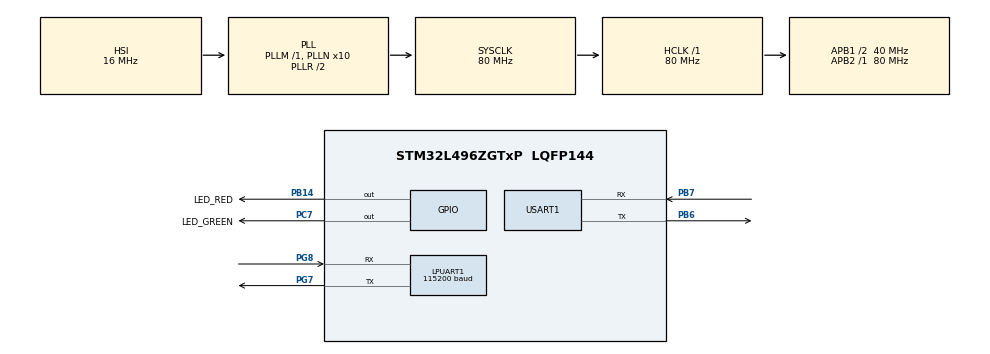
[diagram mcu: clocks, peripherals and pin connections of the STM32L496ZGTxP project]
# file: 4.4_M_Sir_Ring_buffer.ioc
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LPUART1.BaudRate=115200
LPUART1.WordLength=UART_WORDLENGTH_8B
Mcu.Family=STM32L4
Mcu.Name=STM32L496ZGTxP
Mcu.Package=LQFP144
NVIC.LPUART1_IRQn=true\:0\:0\:false\:false\:true\:true\:true\:true
NVIC.PriorityGroup=NVIC_PRIORITYGROUP_4
NVIC.USART1_IRQn=true\:0\:0\:false\:false\:true\:true\:true\:true
PA13\ (JTMS/SWDIO).Mode=Serial_Wire
PA13\ (JTMS/SWDIO).Signal=SYS_JTMS-SWDIO
PA14\ (JTCK/SWCLK).Mode=Serial_Wire
PA14\ (JTCK/SWCLK).Signal=SYS_JTCK-SWCLK
PB14.GPIO_Label=LED_RED
PB14.Signal=GPIO_Output
PB6.Mode=Asynchronous
PB6.Signal=USART1_TX
PB7.Mode=Asynchronous
PB7.Signal=USART1_RX
PC7.GPIO_Label=LED_GREEN
PC7.Signal=GPIO_Output
PD5.Signal=USART2_TX
PD6.Signal=USART2_RX
PG7.Mode=Asynchronous
PG7.Signal=LPUART1_TX
PG8.Mode=Asynchronous
PG8.Signal=LPUART1_RX
PH0-OSC_IN\ (PH0).Mode=HSE-External-Oscillator
PH0-OSC_IN\ (PH0).Signal=RCC_OSC_IN
PH1-OSC_OUT\ (PH1).Mode=HSE-External-Oscillator
PH1-OSC_OUT\ (PH1).Signal=RCC_OSC_OUT
ProjectManager.HeapSize=0x200
ProjectManager.StackSize=0x400
ProjectManager.TargetToolchain=STM32CubeIDE
RCC.48MHZClocksFreq_Value=24000000
RCC.ADCFreq_Value=160000000
RCC.AHBFreq_Value=80000000
RCC.APB1CLKDivider=RCC_HCLK_DIV2
RCC.APB1Freq_Value=40000000
RCC.APB1TimFreq_Value=80000000
RCC.APB2Freq_Value=80000000
RCC.APB2TimFreq_Value=80000000
RCC.CortexFreq_Value=80000000
RCC.HCLKFreq_Value=80000000
RCC.HSE_VALUE=8000000
RCC.HSI48_VALUE=48000000
RCC.HSI_VALUE=16000000
RCC.LSE_VALUE=32768
RCC.MSIAutoCalibration=DISABLED
RCC.MSIClockRange=RCC_MSIRANGE_9
RCC.MSI_VALUE=24000000
RCC.PLLMUL=RCC_PLL_MUL9
RCC.PLLN=10
RCC.PLLSAI1N=20
RCC.PLLSourceVirtual=RCC_PLLSOURCE_HSI
RCC.PRESCALERUSB=RCC_USBCLKSOURCE_PLL_DIV1_5
RCC.SYSCLKFreq_VALUE=80000000
RCC.SYSCLKSource=RCC_SYSCLKSOURCE_PLLCLK
RCC.SYSCLKSourceVirtual=RCC_SYSCLKSOURCE_PLLCLK
RCC.USBFreq_Value=160000000
RCC.VCOOutputFreq_Value=160000000
USART1.VirtualMode-Asynchronous=VM_ASYNC
board=NUCLEO-L496ZG-P

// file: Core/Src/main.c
/* USER CODE BEGIN Header */
/**
 ******************************************************************************
 * @file           : main.c
 * @brief          : Main program body
 ******************************************************************************
 * @attention
 *
 * Copyright (c) 2024 STMicroelectronics.
 * All rights reserved.
 *
 * This software is licensed under terms that can be found in the LICENSE file
 * in the root directory of this software component.
 * If no LICENSE file comes with this software, it is provided AS-IS.
 *
 ******************************************************************************
 */
/* USER CODE END Header */
#include "main.h"

/* USER CODE BEGIN Includes */
//#include "Serial.h"
/* USER CODE END Includes */

/* USER CODE BEGIN PM */

#define WELCOME_MSG     "-------------------------------------------\r\n"\
                        "Hello World!\r\n"\
	                    "This is the UART Circular buffer example\r\n"\
						"Coded By: Dishantpari Goswami        \r\n"\
						"<dishantparigoswami123@gmail.com>     \r\n"\
						"-------------------------------------------\r\n"

#define HELP_MENU       "<h> Press the following keys to get the action\r\n"\
	                    "<1> Serial print string\r\n"\
						"<2> Serial print Initger in base\r\n"\
						"<3> Serial put hex\r\n"\
						"<4> Serial print hex long\r\n"\
						"<5> Serial print octal\r\n"\
						"<6> Serial print Binary\r\n"\
						"<7> Echo back for 10 sec\r\n"\
						"<8> Echo back till enter\r\n"
/* USER CODE END PM */

UART_HandleTypeDef hlpuart1;
UART_HandleTypeDef huart1;

/* USER CODE BEGIN PV */
const char *s = "Hello !!";
char cmd;
/* USER CODE END PV */

void SystemClock_Config(void);
static void MX_GPIO_Init(void);
static void MX_LPUART1_UART_Init(void);
static void MX_USART1_UART_Init(void);
/* USER CODE BEGIN PFP */
typedef void (*Menue_t[9])(void);
/* USER CODE END PFP */

/* USER CODE BEGIN 0 */
char rx2_temp[1] = { 0 };
char rx1_temp[1] = { 0 };

void PrintHelp(void) {
	Serial.PrintString(HELP_MENU, DEBUG_PORT);
}
void PrintString(void) {
	Serial.PrintString("Hello world\r\n", DEBUG_PORT);
}

void PrintIntInBase(void) {
	Serial.PrintIntegerInBase(12, 2, DEBUG_PORT);
}

void PutHex(void) {
	Serial.Puthex(12, DEBUG_PORT);
}

void PrintHexLong(void) {
	Serial.PrintHexlong(12536, DEBUG_PORT);
}

void PrintOctal(void) {
	Serial.PrintOctal(15, DEBUG_PORT);
}

void PrintBinary(void) {
	Serial.PrintBinary(125, DEBUG_PORT);
}

void PrintEcho(void) {
	unsigned long previous = milis();
	while (milis() - previous < 10000) {
		if (Serial.Available(DEBUG_PORT) > 0) {
			char var = Serial.Read(DEBUG_PORT);
			Serial.Write(var, DEBUG_PORT);
		}
		/* to avoid overflow */
		if (milis() < previous)
			previous = milis();
	}
	Serial.PrintString("timeout!\r\n", DEBUG_PORT);
}

void PrintEchoCR_LF(void) {
	char buffer[100] = { 0 };

	uint8_t i = 0;
	unsigned long previous = mil	is();
	while (milis() - previous < 10000) {
		if (Serial.Available(DEBUG_PORT) > 0) {
			buffer[i] = Serial.Read(DEBUG_PORT);
			if (buffer[i] == '\n') {
				buffer[i] = 0;
				Serial.PrintString(buffer, DEBUG_PORT);
			} else {
				i++;
			}
		}
		/* to avoid overflow */
		if (milis() < previous)
			previous = milis();
	}
	Serial.PrintString("timeout!\r\n", DEBUG_PORT);
}
/* USER CODE END 0 */

int main(void)
{

  /* USER CODE BEGIN 1 */
	Menue_t Menue = { PrintHelp, PrintString, PrintIntInBase, PutHex,
			PrintHexLong, PrintOctal, PrintBinary, PrintEcho, PrintEchoCR_LF };
  /* USER CODE END 1 */

  /* MCU Configuration--------------------------------------------------------*/

  /* Reset of all peripherals, Initializes the Flash interface and the Systick. */
  HAL_Init();

  /* Configure the system clock */
  SystemClock_Config();

  /* Initialize all configured peripherals */
  MX_GPIO_Init();
  MX_LPUART1_UART_Init();
  MX_USART1_UART_Init();
  /* USER CODE BEGIN 2 */
//    HAL_UART_Transmit(&hlpuart1, (uint8_t*) s, strlen(s), SERIAL_DEFAULT_TIMEOUT);
	//Serial.begin(115200, DEBUG_PORT);
	Serial.PrintString(WELCOME_MSG, DEBUG_PORT);
	Serial.PrintString(HELP_MENU, DEBUG_PORT);
//	Serial.PrintString("\r\nHiii..I am Dishantpari Goswami.\n"
//			"I am writing this msg to show it"\ ""
//		    "print or not\r\n", DEBUG_PORT);

	/* Intitial rx window */
      delay(500);
	  HAL_UART_Receive_IT(&hlpuart1, (uint8_t*) rx1_temp, 1);

  /* USER CODE END 2 */

  /* Infinite loop */
	while (1) {

    /* USER CODE BEGIN 3 */
		if (Serial.Available(DEBUG_PORT) > 0) {
			cmd = Serial.Read(DEBUG_PORT);
			switch (cmd) {
			case 'h':
				(Menue[0]());
				break;

			case '1':
				(Menue[1]());
				break;
			case '2':
				(Menue[2]());
				break;
			case '3':
				(Menue[3]());
				break;
			case '4':
				(Menue[4]());
				break;
			case '5':
				(Menue[5]());
				break;
			case '6':
				(Menue[6]());
				break;
			case '7':
				(Menue[7]());
				break;

			case '8':
				(Menue[8]());
				break;
			default:
				break;

			}
		}
	}
  /* USER CODE END 3 */
}

void SystemClock_Config(void)
{
  RCC_OscInitTypeDef RCC_OscInitStruct = {0};
  RCC_ClkInitTypeDef RCC_ClkInitStruct = {0};

  /** Configure the main internal regulator output voltage
  */
  if (HAL_PWREx_ControlVoltageScaling(PWR_REGULATOR_VOLTAGE_SCALE1) != HAL_OK)
  {
    Error_Handler();
  }

  /** Initializes the RCC Oscillators according to the specified parameters
  * in the RCC_OscInitTypeDef structure.
  */
  RCC_OscInitStruct.OscillatorType = RCC_OSCILLATORTYPE_HSI;
  RCC_OscInitStruct.HSIState = RCC_HSI_ON;
  RCC_OscInitStruct.HSICalibrationValue = RCC_HSICALIBRATION_DEFAULT;
  RCC_OscInitStruct.PLL.PLLState = RCC_PLL_ON;
  RCC_OscInitStruct.PLL.PLLSource = RCC_PLLSOURCE_HSI;
  RCC_OscInitStruct.PLL.PLLM = 1;
  RCC_OscInitStruct.PLL.PLLN = 10;
  RCC_OscInitStruct.PLL.PLLP = RCC_PLLP_DIV2;
  RCC_OscInitStruct.PLL.PLLQ = RCC_PLLQ_DIV2;
  RCC_OscInitStruct.PLL.PLLR = RCC_PLLR_DIV2;
  if (HAL_RCC_OscConfig(&RCC_OscInitStruct) != HAL_OK)
  {
    Error_Handler();
  }

  /** Initializes the CPU, AHB and APB buses clocks
  */
  RCC_ClkInitStruct.ClockType = RCC_CLOCKTYPE_HCLK|RCC_CLOCKTYPE_SYSCLK
                              |RCC_CLOCKTYPE_PCLK1|RCC_CLOCKTYPE_PCLK2;
  RCC_ClkInitStruct.SYSCLKSource = RCC_SYSCLKSOURCE_PLLCLK;
  RCC_ClkInitStruct.AHBCLKDivider = RCC_SYSCLK_DIV1;
  RCC_ClkInitStruct.APB1CLKDivider = RCC_HCLK_DIV2;
  RCC_ClkInitStruct.APB2CLKDivider = RCC_HCLK_DIV1;

  if (HAL_RCC_ClockConfig(&RCC_ClkInitStruct, FLASH_LATENCY_4) != HAL_OK)
  {
    Error_Handler();
  }
}

static void MX_LPUART1_UART_Init(void)
{

  /* USER CODE BEGIN LPUART1_Init 0 */
//////
  /* USER CODE END LPUART1_Init 0 */

  /* USER CODE BEGIN LPUART1_Init 1 */
//////
  /* USER CODE END LPUART1_Init 1 */
  hlpuart1.Instance = LPUART1;
  hlpuart1.Init.BaudRate = 115200;
  hlpuart1.Init.WordLength = UART_WORDLENGTH_8B;
  hlpuart1.Init.StopBits = UART_STOPBITS_1;
  hlpuart1.Init.Parity = UART_PARITY_NONE;
  hlpuart1.Init.Mode = UART_MODE_TX_RX;
  hlpuart1.Init.HwFlowCtl = UART_HWCONTROL_NONE;
  hlpuart1.Init.OneBitSampling = UART_ONE_BIT_SAMPLE_DISABLE;
  hlpuart1.AdvancedInit.AdvFeatureInit = UART_ADVFEATURE_NO_INIT;
  if (HAL_UART_Init(&hlpuart1) != HAL_OK)
  {
    Error_Handler();
  }
  /* USER CODE BEGIN LPUART1_Init 2 */
//  delay(500);
//  HAL_UART_Receive_IT(&hlpuart1, (uint8_t*) rx1_temp, 1);
  /* USER CODE END LPUART1_Init 2 */

}

static void MX_USART1_UART_Init(void)
{

  /* USER CODE BEGIN USART1_Init 0 */
//
  /* USER CODE END USART1_Init 0 */

  /* USER CODE BEGIN USART1_Init 1 */
//
  /* USER CODE END USART1_Init 1 */
  huart1.Instance = USART1;
  huart1.Init.BaudRate = 115200;
  huart1.Init.WordLength = UART_WORDLENGTH_8B;
  huart1.Init.StopBits = UART_STOPBITS_1;
  huart1.Init.Parity = UART_PARITY_NONE;
  huart1.Init.Mode = UART_MODE_TX_RX;
  huart1.Init.HwFlowCtl = UART_HWCONTROL_NONE;
  huart1.Init.OverSampling = UART_OVERSAMPLING_16;
  huart1.Init.OneBitSampling = UART_ONE_BIT_SAMPLE_DISABLE;
  huart1.AdvancedInit.AdvFeatureInit = UART_ADVFEATURE_NO_INIT;
  if (HAL_UART_Init(&huart1) != HAL_OK)
  {
    Error_Handler();
  }
  /* USER CODE BEGIN USART1_Init 2 */
//
  /* USER CODE END USART1_Init 2 */

}

static void MX_GPIO_Init(void)
{
  GPIO_InitTypeDef GPIO_InitStruct = {0};

  /* GPIO Ports Clock Enable */
  __HAL_RCC_GPIOH_CLK_ENABLE();
  __HAL_RCC_GPIOB_CLK_ENABLE();
  __HAL_RCC_GPIOG_CLK_ENABLE();
  HAL_PWREx_EnableVddIO2();
  __HAL_RCC_GPIOC_CLK_ENABLE();
  __HAL_RCC_GPIOA_CLK_ENABLE();
  __HAL_RCC_GPIOD_CLK_ENABLE();

  /*Configure GPIO pin Output Level */
  HAL_GPIO_WritePin(LED_RED_GPIO_Port, LED_RED_Pin, GPIO_PIN_RESET);

  /*Configure GPIO pin Output Level */
  HAL_GPIO_WritePin(LED_GREEN_GPIO_Port, LED_GREEN_Pin, GPIO_PIN_RESET);

  /*Configure GPIO pin : LED_RED_Pin */
  GPIO_InitStruct.Pin = LED_RED_Pin;
  GPIO_InitStruct.Mode = GPIO_MODE_OUTPUT_PP;
  GPIO_InitStruct.Pull = GPIO_NOPULL;
  GPIO_InitStruct.Speed = GPIO_SPEED_FREQ_LOW;
  HAL_GPIO_Init(LED_RED_GPIO_Port, &GPIO_InitStruct);

  /*Configure GPIO pin : LED_GREEN_Pin */
  GPIO_InitStruct.Pin = LED_GREEN_Pin;
  GPIO_InitStruct.Mode = GPIO_MODE_OUTPUT_PP;
  GPIO_InitStruct.Pull = GPIO_NOPULL;
  GPIO_InitStruct.Speed = GPIO_SPEED_FREQ_LOW;
  HAL_GPIO_Init(LED_GREEN_GPIO_Port, &GPIO_InitStruct);

  /*Configure GPIO pins : PD5 PD6 */
  GPIO_InitStruct.Pin = GPIO_PIN_5|GPIO_PIN_6;
  GPIO_InitStruct.Mode = GPIO_MODE_AF_PP;
  GPIO_InitStruct.Pull = GPIO_NOPULL;
  GPIO_InitStruct.Speed = GPIO_SPEED_FREQ_VERY_HIGH;
  GPIO_InitStruct.Alternate = GPIO_AF7_USART2;
  HAL_GPIO_Init(GPIOD, &GPIO_InitStruct);

}

/* USER CODE BEGIN 4 */

//
//if (huart->Instance == USART1) {
//	unsigned char buff = rx1_temp[0];
//	int i = (rx_buffer_head1 + 1) % RX_BUFFER_SIZE_1;
//	// if we should be storing the received character into the location
//	// just before the tail (meaning that the head would advance to the
//	// current location of the tail), we're about to overflow the buffer
//	// and so we don't write the character or advance the head.
//	if (i != rx_buffer_tail1) {
//		rx_buffer1[rx_buffer_head1] = buff;
//		rx_buffer_head1 = i;
//	}
//	HAL_UART_Receive_IT(&huart1, (uint8_t*) rx1_temp, 1);
//}
/* USER CODE END 4 */

void Error_Handler(void)
{
	__disable_irq();
	while (1) {
	}
}
